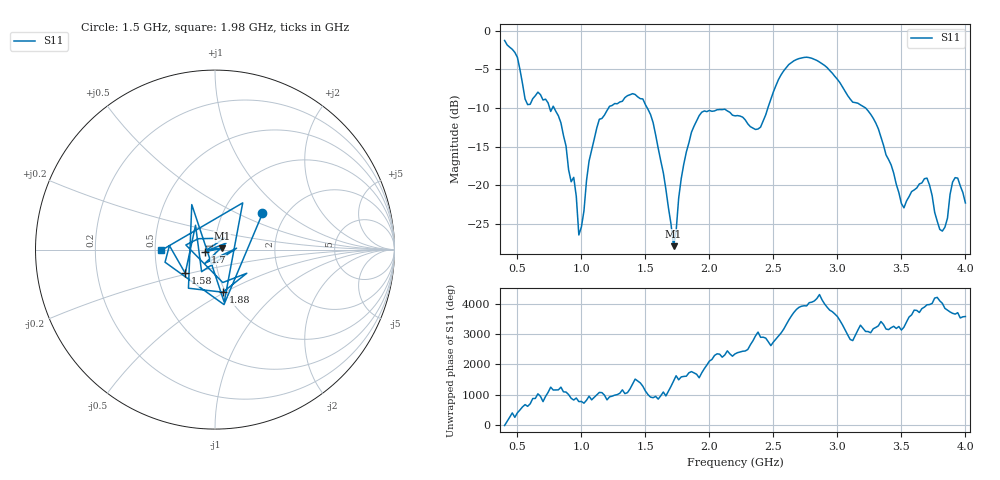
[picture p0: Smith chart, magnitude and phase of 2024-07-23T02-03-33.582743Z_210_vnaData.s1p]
!Created with skrf (http://scikit-rf.org).
# Hz S RI R 50.0
!freq ReS11 ImS11
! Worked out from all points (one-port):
!   181 points, 400 MHz to 4 GHz, reference 50 ohm
!   lowest |S11| = -27.9 dB at 1.72 GHz (marker M1), VSWR 1.08, Z = 54.1 + j0.897 ohm
!   |S11| at or under -10 dB: 787.1 MHz to 1.212 GHz (424.8 MHz wide, 42.5 % of centre); 1.515 GHz to 2.457 GHz (942.1 MHz wide, 47.4 % of centre); 3.221 GHz to end of sweep (the widest 3 of 4)
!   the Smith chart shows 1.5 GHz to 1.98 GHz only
!   S11 on the Smith chart (normalised r, x): 1.5 GHz: 1.53, +0.69; 1.58 GHz: 0.69, -0.19; 1.7 GHz: 0.90, -0.02; 1.88 GHz: 0.97, -0.49; 1.98 GHz: 0.54, -0.01
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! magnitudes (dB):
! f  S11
! 400 MHz  -1.3
! 500 MHz  -3.4
! 580 MHz  -9.6
! 660 MHz  -8.0
! 860 MHz  -13.6
! 940 MHz  -19.0
! 980 MHz  -26.4
! 1.14 GHz  -11.5
! 1.3 GHz  -9.2
! 1.5 GHz  -9.6
! 1.58 GHz  -13.5
! 1.7 GHz  -25.0
! 1.72 GHz  -27.9
! 1.76 GHz  -21.7
! 1.88 GHz  -12.3
! 1.98 GHz  -10.5
! 2.2 GHz  -11.0
! 2.4 GHz  -12.5
! 2.66 GHz  -3.9
! 2.9 GHz  -4.5
! 3.1 GHz  -8.8
! 3.3 GHz  -11.9
! 3.52 GHz  -22.9
! 3.56 GHz  -21.5
! 3.7 GHz  -19.1
! 3.82 GHz  -25.9
! 3.92 GHz  -19.0
! 4 GHz  -22.3
